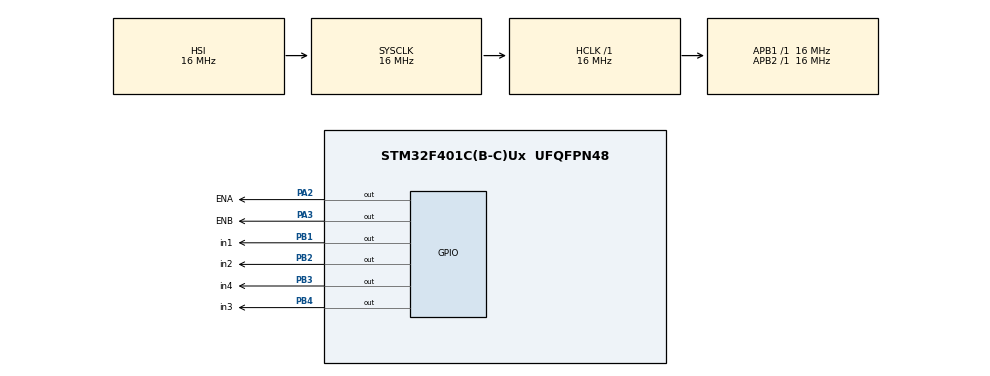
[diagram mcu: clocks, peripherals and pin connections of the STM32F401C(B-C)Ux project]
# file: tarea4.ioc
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Mcu.Family=STM32F4
Mcu.Name=STM32F401C(B-C)Ux
Mcu.Package=UFQFPN48
NVIC.PriorityGroup=NVIC_PRIORITYGROUP_4
PA2.GPIO_Label=ENA
PA2.Signal=GPIO_Output
PA3.GPIO_Label=ENB
PA3.Signal=GPIO_Output
PB1.GPIO_Label=in1
PB1.Signal=GPIO_Output
PB2.GPIO_Label=in2
PB2.Signal=GPIO_Output
PB3.GPIO_Label=in4
PB3.Signal=GPIO_Output
PB4.GPIO_Label=in3
PB4.Signal=GPIO_Output
ProjectManager.HeapSize=0x200
ProjectManager.StackSize=0x400
ProjectManager.TargetToolchain=CMake
RCC.AHBFreq_Value=16000000
RCC.APB1Freq_Value=16000000
RCC.APB2Freq_Value=16000000
RCC.CortexFreq_Value=16000000
RCC.HSE_VALUE=25000000
RCC.HSI_VALUE=16000000
RCC.LSE_VALUE=32768
RCC.SYSCLKFreq_VALUE=16000000
RCC.VCOOutputFreq_Value=192000000
board=custom

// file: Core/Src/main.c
/* USER CODE BEGIN Header */
/**
  ******************************************************************************
  * @file           : main.c
  * @brief          : Main program body
  ******************************************************************************
  * @attention
  *
  * Copyright (c) 2026 STMicroelectronics.
  * All rights reserved.
  *
  * This software is licensed under terms that can be found in the LICENSE file
  * in the root directory of this software component.
  * If no LICENSE file comes with this software, it is provided AS-IS.
  *
  ******************************************************************************
  */
/* USER CODE END Header */
#include "main.h"
#include "stm32f401xc.h"

void SystemClock_Config(void);
static void MX_GPIO_Init(void);

/* USER CODE BEGIN 0 */
static void motor1(int8_t direccion)
{
  HAL_GPIO_WritePin(GPIOB, in1_Pin, (direccion > 0) ? GPIO_PIN_SET : GPIO_PIN_RESET);  // IN1
  HAL_GPIO_WritePin(GPIOB, in2_Pin, (direccion < 0) ? GPIO_PIN_SET : GPIO_PIN_RESET);  // IN2
  HAL_GPIO_WritePin(GPIOA, ENA_Pin, (direccion != 0) ? GPIO_PIN_SET : GPIO_PIN_RESET); // ENA (Control de voltaje)
}

static void motor2(int8_t direccion)
{
  HAL_GPIO_WritePin(GPIOB, in3_Pin, (direccion > 0) ? GPIO_PIN_SET : GPIO_PIN_RESET);
  HAL_GPIO_WritePin(GPIOB, in4_Pin, (direccion < 0) ? GPIO_PIN_SET : GPIO_PIN_RESET);
  HAL_GPIO_WritePin(GPIOA, ENB_Pin, (direccion != 0) ? GPIO_PIN_SET : GPIO_PIN_RESET);
}

static void stop(void)
{
  motor1(0);
  motor2(0);
}

// Secuencia 1: Avanzar corto
static void avanza(uint16_t ms)
{
  motor1(1);
  motor2(1);
  HAL_Delay(ms);
  stop();
}

// Secuencia 2: Curva a la izquierda
static void curva_izq(uint16_t ms)
{
  motor1(0); // Motor izquierdo detenido
  motor2(1); // Motor derecho adelante
  HAL_Delay(ms);
  stop();
}

// Secuencia 3: Giro
static void giro(uint16_t ms)
{
  motor1(-1);
  motor2(1);
  HAL_Delay(ms);
  stop();
}

// Secuencia 4: curva a la derecha
static void curva_der(uint16_t ms)
{
  motor1(1);
  motor2(0);
  HAL_Delay(ms);
  stop();
}

/* USER CODE END 0 */

int main(void)
{

  /* MCU Configuration--------------------------------------------------------*/

  /* Reset of all peripherals, Initializes the Flash interface and the Systick. */
  HAL_Init();

  /* Configure the system clock */
  SystemClock_Config();

  /* Initialize all configured peripherals */
  MX_GPIO_Init();

  /* Infinite loop */
  while (1)
  {
    avanza(2000);
    HAL_Delay(500);    // Pausa de 0.5 segundos
    curva_izq(2000 );
    HAL_Delay(500);    // Pausa de 0.5 segundos
    curva_der(2000);
    HAL_Delay(500);    // Pausa de 0.5 segundos
    giro(2500);
    HAL_Delay(500);

  }
}

void SystemClock_Config(void)
{
  RCC_OscInitTypeDef RCC_OscInitStruct = {0};
  RCC_ClkInitTypeDef RCC_ClkInitStruct = {0};

  /** Configure the main internal regulator output voltage
  */
  __HAL_RCC_PWR_CLK_ENABLE();
  __HAL_PWR_VOLTAGESCALING_CONFIG(PWR_REGULATOR_VOLTAGE_SCALE2);

  /** Initializes the RCC Oscillators according to the specified parameters
  * in the RCC_OscInitTypeDef structure.
  */
  RCC_OscInitStruct.OscillatorType = RCC_OSCILLATORTYPE_HSI;
  RCC_OscInitStruct.HSIState = RCC_HSI_ON;
  RCC_OscInitStruct.HSICalibrationValue = RCC_HSICALIBRATION_DEFAULT;
  RCC_OscInitStruct.PLL.PLLState = RCC_PLL_NONE;
  if (HAL_RCC_OscConfig(&RCC_OscInitStruct) != HAL_OK)
  {
    Error_Handler();
  }

  /** Initializes the CPU, AHB and APB buses clocks
  */
  RCC_ClkInitStruct.ClockType = RCC_CLOCKTYPE_HCLK|RCC_CLOCKTYPE_SYSCLK
                              |RCC_CLOCKTYPE_PCLK1|RCC_CLOCKTYPE_PCLK2;
  RCC_ClkInitStruct.SYSCLKSource = RCC_SYSCLKSOURCE_HSI;
  RCC_ClkInitStruct.AHBCLKDivider = RCC_SYSCLK_DIV1;
  RCC_ClkInitStruct.APB1CLKDivider = RCC_HCLK_DIV1;
  RCC_ClkInitStruct.APB2CLKDivider = RCC_HCLK_DIV1;

  if (HAL_RCC_ClockConfig(&RCC_ClkInitStruct, FLASH_LATENCY_0) != HAL_OK)
  {
    Error_Handler();
  }
}

static void MX_GPIO_Init(void)
{
  GPIO_InitTypeDef GPIO_InitStruct = {0};

  /* GPIO Ports Clock Enable */
  __HAL_RCC_GPIOA_CLK_ENABLE();
  __HAL_RCC_GPIOB_CLK_ENABLE();

  /*Configure GPIO pin Output Level */
  HAL_GPIO_WritePin(GPIOA, ENA_Pin|ENB_Pin, GPIO_PIN_RESET);

  /*Configure GPIO pin Output Level */
  HAL_GPIO_WritePin(GPIOB, in1_Pin|in2_Pin|in4_Pin|in3_Pin, GPIO_PIN_RESET);

  /*Configure GPIO pins : ENA_Pin ENB_Pin */
  GPIO_InitStruct.Pin = ENA_Pin|ENB_Pin;
  GPIO_InitStruct.Mode = GPIO_MODE_OUTPUT_PP;
  GPIO_InitStruct.Pull = GPIO_NOPULL;
  GPIO_InitStruct.Speed = GPIO_SPEED_FREQ_LOW;
  HAL_GPIO_Init(GPIOA, &GPIO_InitStruct);

  /*Configure GPIO pins : in1_Pin in2_Pin in4_Pin in3_Pin */
  GPIO_InitStruct.Pin = in1_Pin|in2_Pin|in4_Pin|in3_Pin;
  GPIO_InitStruct.Mode = GPIO_MODE_OUTPUT_PP;
  GPIO_InitStruct.Pull = GPIO_NOPULL;
  GPIO_InitStruct.Speed = GPIO_SPEED_FREQ_LOW;
  HAL_GPIO_Init(GPIOB, &GPIO_InitStruct);

}

void Error_Handler(void)
{
  __disable_irq();
  while (1)
  {
  }
}
